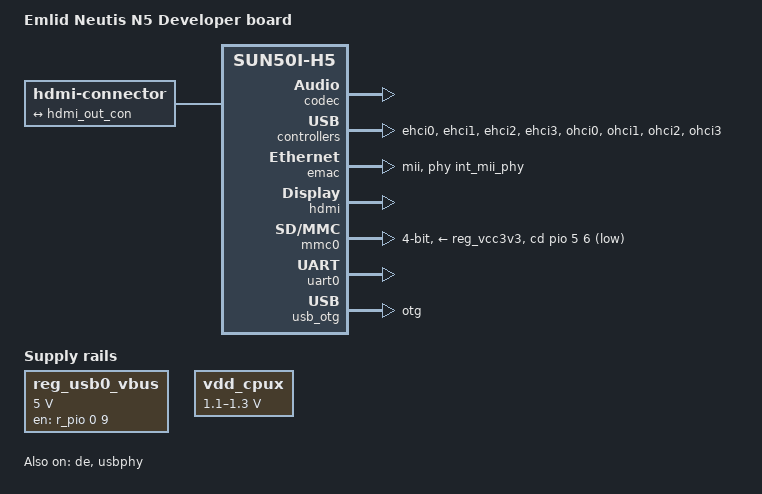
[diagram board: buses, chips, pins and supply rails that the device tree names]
/*
 * Copyright (C) 2018 Aleksandr Aleksandrov <aleksandr.aleksandrov@emlid.com>
 *
 * This file is dual-licensed: you can use it either under the terms
 * of the GPL or the X11 license, at your option. Note that this dual
 * licensing only applies to this file, and not this project as a
 * whole.
 *
 *  a) This library is free software; you can redistribute it and/or
 *     modify it under the terms of the GNU General Public License as
 *     published by the Free Software Foundation; either version 2 of the
 *     License, or (at your option) any later version.
 *
 *     This library is distributed in the hope that it will be useful,
 *     but WITHOUT ANY WARRANTY; without even the implied warranty of
 *     MERCHANTABILITY or FITNESS FOR A PARTICULAR PURPOSE.  See the
 *     GNU General Public License for more details.
 *
 * Or, alternatively,
 *
 *  b) Permission is hereby granted, free of charge, to any person
 *     obtaining a copy of this software and associated documentation
 *     files (the "Software"), to deal in the Software without
 *     restriction, including without limitation the rights to use,
 *     copy, modify, merge, publish, distribute, sublicense, and/or
 *     sell copies of the Software, and to permit persons to whom the
 *     Software is furnished to do so, subject to the following
 *     conditions:
 *
 *     The above copyright notice and this permission notice shall be
 *     included in all copies or substantial portions of the Software.
 *
 *     THE SOFTWARE IS PROVIDED "AS IS", WITHOUT WARRANTY OF ANY KIND,
 *     EXPRESS OR IMPLIED, INCLUDING BUT NOT LIMITED TO THE WARRANTIES
 *     OF MERCHANTABILITY, FITNESS FOR A PARTICULAR PURPOSE AND
 *     NONINFRINGEMENT. IN NO EVENT SHALL THE AUTHORS OR COPYRIGHT
 *     HOLDERS BE LIABLE FOR ANY CLAIM, DAMAGES OR OTHER LIABILITY,
 *     WHETHER IN AN ACTION OF CONTRACT, TORT OR OTHERWISE, ARISING
 *     FROM, OUT OF OR IN CONNECTION WITH THE SOFTWARE OR THE USE OR
 *     OTHER DEALINGS IN THE SOFTWARE.
 */

/dts-v1/;

#include "sun50i-h5-emlid-neutis-n5.dtsi"

/ {
	model = "Emlid Neutis N5 Developer board";
	compatible = "emlid,emlid-neutis-n5-devboard",
		"emlid,emlid-neutis-n5",
		"allwinner,sun50i-h5";

	aliases {
		serial0 = &uart0;
	};

	chosen {
		stdout-path = "serial0:115200n8";
	};

	connector {
		compatible = "hdmi-connector";
		type = "a";

		port {
			hdmi_con_in: endpoint {
				remote-endpoint = <&hdmi_out_con>;
			};
		};
	};

	reg_usb0_vbus: usb0-vbus {
		compatible = "regulator-fixed";
		regulator-name = "usb0-vbus";
		regulator-min-microvolt = <5000000>;
		regulator-max-microvolt = <5000000>;
		enable-active-high;
		gpio = <&r_pio 0 9 GPIO_ACTIVE_HIGH>;   /* PL9 */
		status = "okay";
	};

	vdd_cpux: gpio-regulator {
		compatible = "regulator-gpio";
		pinctrl-names = "default";
		regulator-name = "vdd-cpux";
		regulator-type = "voltage";
		regulator-boot-on;
		regulator-always-on;
		regulator-min-microvolt = <1100000>;
		regulator-max-microvolt = <1300000>;
		regulator-ramp-delay = <50>; /* 4ms */
		gpios = <&r_pio 0 6 GPIO_ACTIVE_HIGH>; /* PL6 */
		gpios-states = <0x1>;
		states = <1100000 0x0
			  1300000 0x1>;
	};
};

&codec {
	allwinner,audio-routing =
		"Line Out", "LINEOUT",
		"LINEIN", "Line In",
		"MIC1", "Mic",
		"MIC2", "Mic",
		"Mic",  "MBIAS";
	status = "okay";
};

&de {
	status = "okay";
};

&ehci0 {
	status = "okay";
};

&ehci1 {
	status = "okay";
};

&ehci2 {
	status = "okay";
};

&ehci3 {
	status = "okay";
};

&ohci0 {
	status = "okay";
};

&ohci1 {
	status = "okay";
};

&ohci2 {
	status = "okay";
};

&ohci3 {
	status = "okay";
};

&emac {
	phy-handle = <&int_mii_phy>;
	phy-mode = "mii";
	allwinner,leds-active-low;
	status = "okay";
};

&hdmi {
	status = "okay";
};

&hdmi_out {
	hdmi_out_con: endpoint {
		remote-endpoint = <&hdmi_con_in>;
	};
};

&mmc0 {
	vmmc-supply = <&reg_vcc3v3>;
	bus-width = <4>;
	cd-gpios = <&pio 5 6 GPIO_ACTIVE_LOW>; /* PF6 */
	status = "okay";
};

&uart0 {
	pinctrl-names = "default";
	pinctrl-0 = <&uart0_pins_a>;
	status = "okay";
};

&usb_otg {
	dr_mode = "otg";
	status = "okay";
};

&usbphy {
	usb0_id_det-gpios = <&r_pio 0 8 GPIO_ACTIVE_HIGH>; /* PL8 */
	usb0_vbus-supply = <&reg_usb0_vbus>;
	status = "okay";
};
